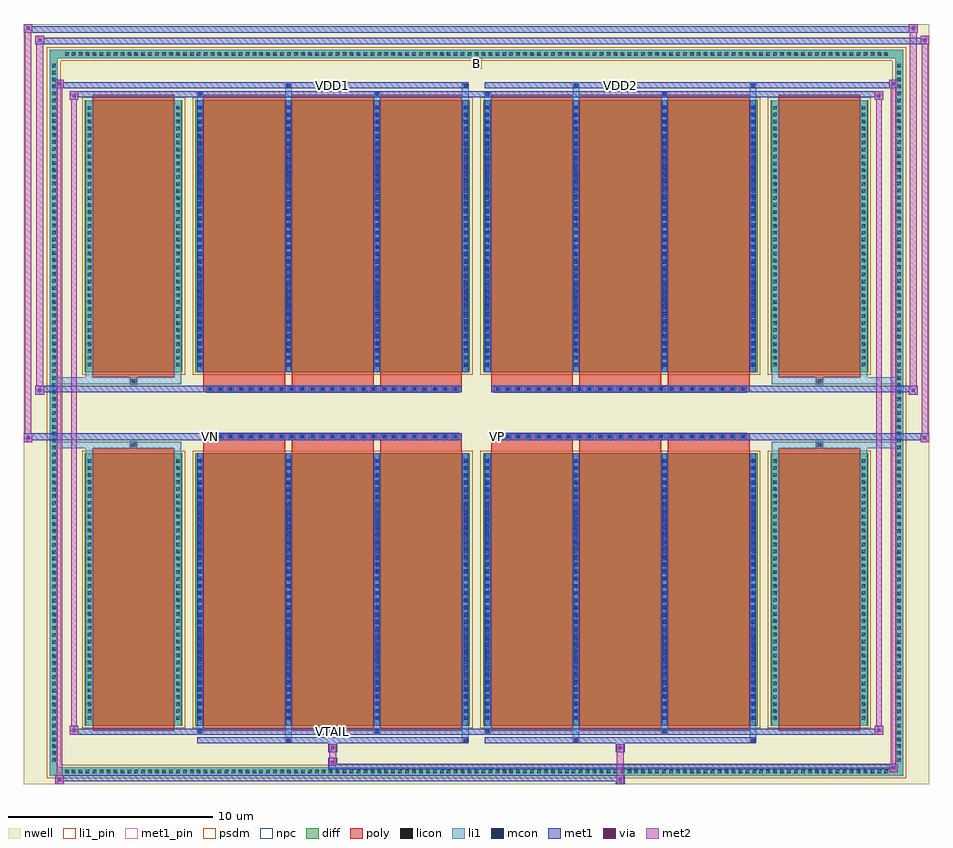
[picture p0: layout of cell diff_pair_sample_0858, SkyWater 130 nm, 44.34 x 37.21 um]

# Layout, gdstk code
import gdstk
lib = gdstk.Library(unit=1e-6, precision=5e-09)
def R(c, l, rs):  # rectangles x0, y0, x1, y1
    for r in rs: c.add(gdstk.rectangle(r[:2], r[2:], *l))
def A(c, l, x, y, w, h, nx, ny, dx, dy):  # array of equal rectangles
    R(c, l, [(x+i*dx, y+j*dy, x+i*dx+w, y+j*dy+h) for i in range(nx) for j in range(ny)])
def P(c, l, *ps):  # polygons
    for p in ps: c.add(gdstk.Polygon(p, *l))
nwell = (64, 20)
diff = (65, 20)
poly = (66, 20)
licon = (66, 44)
li1_pin = (67, 16)
li1 = (67, 20)
mcon = (67, 44)
met1_pin = (68, 16)
met1 = (68, 20)
via = (68, 44)
met2 = (69, 20)
psdm = (94, 20)
npc = (95, 20)

diff_pair_sample_0858 = lib.new_cell('diff_pair_sample_0858')
R(diff_pair_sample_0858, nwell, [(-22.17,-18.17,22.17,19.04), (-19.49,-16.36,-0.01,-0.8), (0.01,-16.36,19.49,-0.8), (-19.49,0.8,-0.01,16.36), (0.01,0.8,19.49,16.36)])
A(diff_pair_sample_0858, diff, -20.265, -17.77, 0.41, 0.41, 119, 2, 0.34, 35.13)
A(diff_pair_sample_0858, diff, -20.9, -17.205, 0.41, 0.41, 1, 101, 0, 0.34)
A(diff_pair_sample_0858, diff, 20.49, -17.205, 0.41, 0.41, 1, 101, 0, 0.34)
R(diff_pair_sample_0858, diff, [(-20.265,-17.77,20.265,-17.36), (-20.9,-17.205,-20.49,17.205), (20.49,-17.205,20.9,17.205), (-19.18,-15.315,-14.4,-1.985), (-13.76,-15.315,-0.32,-1.985), (0.32,-15.315,13.76,-1.985), (14.4,-15.315,19.18,-1.985), (-19.18,1.985,-14.4,15.315), (-13.76,1.985,-0.32,15.315), (0.32,1.985,13.76,15.315), (14.4,1.985,19.18,15.315), (-20.265,17.36,20.265,17.77)])
P(diff_pair_sample_0858, diff, [(20.9,17.77),(-20.9,17.77),(-20.9,-17.36),(-20.49,-17.36),(-20.49,17.36),(20.49,17.36),(20.49,-17.36),(-20.49,-17.36),(-20.9,-17.36),(-20.9,-17.77),(20.9,-17.77)])
A(diff_pair_sample_0858, poly, -13.37, -15.565, 4, 13.83, 3, 2, 4.33, 17.3)
A(diff_pair_sample_0858, poly, 0.71, -15.565, 4, 13.83, 3, 2, 4.33, 17.3)
A(diff_pair_sample_0858, poly, -13.37, -1.735, 4, 0.405, 3, 2, 4.33, 3.065)
A(diff_pair_sample_0858, poly, 0.71, -1.735, 4, 0.405, 3, 2, 4.33, 3.065)
A(diff_pair_sample_0858, poly, -13.205, -1.33, 0.33, 0.33, 25, 2, 0.5, 2.33)
A(diff_pair_sample_0858, poly, 0.875, -1.33, 0.33, 0.33, 25, 2, 0.5, 2.33)
R(diff_pair_sample_0858, poly, [(-18.79,-15.565,-14.79,-1.735), (14.79,-15.565,18.79,-1.735), (-16.955,-1.735,-16.625,-1.405), (-16.955,-1.735,-16.625,-1.405), (16.625,-1.735,16.955,-1.405), (16.625,-1.735,16.955,-1.405), (-13.37,-1.33,-0.71,-1), (0.71,-1.33,13.37,-1), (-13.37,1,-0.71,1.33), (0.71,1,13.37,1.33), (-16.955,1.405,-16.625,1.735), (-16.955,1.405,-16.625,1.735), (16.625,1.405,16.955,1.735), (16.625,1.405,16.955,1.735), (-18.79,1.735,-14.79,15.565), (14.79,1.735,18.79,15.565)])
A(diff_pair_sample_0858, licon, -20.145, -17.65, 0.17, 0.17, 119, 2, 0.34, 35.13)
A(diff_pair_sample_0858, licon, -20.78, -17.085, 0.17, 0.17, 1, 101, 0, 0.34)
A(diff_pair_sample_0858, licon, 20.61, -17.085, 0.17, 0.17, 1, 101, 0, 0.34)
A(diff_pair_sample_0858, licon, -19.04, -15.025, 0.17, 0.17, 1, 38, 0, 0.34)
A(diff_pair_sample_0858, licon, -14.71, -15.025, 0.17, 0.17, 1, 38, 0, 0.34)
A(diff_pair_sample_0858, licon, -13.62, -15.025, 0.17, 0.17, 4, 38, 4.33, 0.34)
A(diff_pair_sample_0858, licon, 0.46, -15.025, 0.17, 0.17, 4, 38, 4.33, 0.34)
A(diff_pair_sample_0858, licon, 14.54, -15.025, 0.17, 0.17, 1, 38, 0, 0.34)
A(diff_pair_sample_0858, licon, 18.87, -15.025, 0.17, 0.17, 1, 38, 0, 0.34)
A(diff_pair_sample_0858, licon, -13.125, -1.25, 0.17, 0.17, 25, 2, 0.5, 2.33)
A(diff_pair_sample_0858, licon, 0.955, -1.25, 0.17, 0.17, 25, 2, 0.5, 2.33)
A(diff_pair_sample_0858, licon, -19.04, 2.275, 0.17, 0.17, 1, 38, 0, 0.34)
A(diff_pair_sample_0858, licon, -14.71, 2.275, 0.17, 0.17, 1, 38, 0, 0.34)
A(diff_pair_sample_0858, licon, -13.62, 2.275, 0.17, 0.17, 4, 38, 4.33, 0.34)
A(diff_pair_sample_0858, licon, 0.46, 2.275, 0.17, 0.17, 4, 38, 4.33, 0.34)
A(diff_pair_sample_0858, licon, 14.54, 2.275, 0.17, 0.17, 1, 38, 0, 0.34)
A(diff_pair_sample_0858, licon, 18.87, 2.275, 0.17, 0.17, 1, 38, 0, 0.34)
R(diff_pair_sample_0858, licon, [(-16.875,-1.655,-16.705,-1.485), (16.705,-1.655,16.875,-1.485), (-16.875,1.485,-16.705,1.655), (16.705,1.485,16.875,1.655)])
R(diff_pair_sample_0858, li1_pin, [(-0.25,16.86,0.25,17.36)])
A(diff_pair_sample_0858, li1, -20.225, -17.73, 0.33, 0.33, 119, 2, 0.34, 35.13)
A(diff_pair_sample_0858, li1, -20.86, -17.165, 0.33, 0.33, 1, 101, 0, 0.34)
A(diff_pair_sample_0858, li1, 20.53, -17.165, 0.33, 0.33, 1, 101, 0, 0.34)
A(diff_pair_sample_0858, li1, -13.7, -15.315, 0.33, 13.33, 4, 2, 4.33, 17.3)
A(diff_pair_sample_0858, li1, 0.38, -15.315, 0.33, 13.33, 4, 2, 4.33, 17.3)
A(diff_pair_sample_0858, li1, -19.12, -15.105, 0.33, 0.33, 1, 38, 0, 0.34)
A(diff_pair_sample_0858, li1, -14.79, -15.105, 0.33, 0.33, 1, 38, 0, 0.34)
A(diff_pair_sample_0858, li1, -13.7, -15.105, 0.33, 0.33, 4, 38, 4.33, 0.34)
A(diff_pair_sample_0858, li1, 0.38, -15.105, 0.33, 0.33, 4, 38, 4.33, 0.34)
A(diff_pair_sample_0858, li1, 14.46, -15.105, 0.33, 0.33, 1, 38, 0, 0.34)
A(diff_pair_sample_0858, li1, 18.79, -15.105, 0.33, 0.33, 1, 38, 0, 0.34)
A(diff_pair_sample_0858, li1, -13.62, -15.035, 0.17, 0.17, 4, 36, 4.33, 0.36)
A(diff_pair_sample_0858, li1, -13.62, -15.035, 0.17, 12.77, 4, 2, 4.33, 17.3)
A(diff_pair_sample_0858, li1, 0.46, -15.035, 0.17, 0.17, 4, 36, 4.33, 0.36)
A(diff_pair_sample_0858, li1, 0.46, -15.035, 0.17, 12.77, 4, 2, 4.33, 17.3)
A(diff_pair_sample_0858, li1, -13.205, -1.33, 0.33, 0.33, 25, 2, 0.5, 2.33)
A(diff_pair_sample_0858, li1, 0.875, -1.33, 0.33, 0.33, 25, 2, 0.5, 2.33)
A(diff_pair_sample_0858, li1, -19.12, 2.195, 0.33, 0.33, 1, 38, 0, 0.34)
A(diff_pair_sample_0858, li1, -14.79, 2.195, 0.33, 0.33, 1, 38, 0, 0.34)
A(diff_pair_sample_0858, li1, -13.7, 2.195, 0.33, 0.33, 4, 38, 4.33, 0.34)
A(diff_pair_sample_0858, li1, 0.38, 2.195, 0.33, 0.33, 4, 38, 4.33, 0.34)
A(diff_pair_sample_0858, li1, 14.46, 2.195, 0.33, 0.33, 1, 38, 0, 0.34)
A(diff_pair_sample_0858, li1, 18.79, 2.195, 0.33, 0.33, 1, 38, 0, 0.34)
A(diff_pair_sample_0858, li1, -13.62, 2.265, 0.17, 0.17, 4, 36, 4.33, 0.36)
A(diff_pair_sample_0858, li1, 0.46, 2.265, 0.17, 0.17, 4, 36, 4.33, 0.36)
R(diff_pair_sample_0858, li1, [(-20.9,-17.77,-20.49,-17.36), (-20.9,-17.77,-20.49,-17.36), (-20.49,-17.77,20.49,-17.36), (20.49,-17.77,20.9,-17.36), (20.49,-17.77,20.9,-17.36), (-20.9,-17.36,-20.49,17.36), (20.49,-17.36,20.9,17.36), (-9.37,-16.12,-9.04,-15.315), (-9.29,-16.12,-9.12,-15.95), (-0.71,-16.12,-0.38,-15.315), (-0.63,-16.12,-0.46,-15.95), (4.71,-16.12,5.04,-15.315), (4.79,-16.12,4.96,-15.95), (13.37,-16.12,13.7,-15.315), (13.45,-16.12,13.62,-15.95), (-13.7,-15.69,-13.37,-15.315), (-13.62,-15.69,-13.45,-15.52), (-5.04,-15.69,-4.71,-15.315), (-4.96,-15.69,-4.79,-15.52), (0.38,-15.69,0.71,-15.315), (0.46,-15.69,0.63,-15.52), (9.04,-15.69,9.37,-15.315), (9.12,-15.69,9.29,-15.52), (-19.12,-15.315,-18.79,-1.985), (-14.79,-15.315,-14.46,-1.985), (14.46,-15.315,14.79,-1.985), (18.79,-15.315,19.12,-1.985), (-19.12,-1.985,-18.79,-1.405), (-14.79,-1.985,-14.46,-1.405), (14.46,-1.985,14.79,-1.405), (18.79,-1.985,19.12,-1.405), (-20.9,-1.735,-16.955,-1.405), (-19.12,-1.735,-16.955,-1.405), (-16.955,-1.735,-16.625,-1.405), (-16.625,-1.735,-14.46,-1.405), (14.46,-1.735,16.625,-1.405), (16.625,-1.735,16.955,-1.405), (16.625,-1.735,20.9,-1.405), (16.955,-1.735,19.12,-1.405), (-20.9,1.405,-16.955,1.735), (-19.12,1.405,-16.955,1.735), (-19.12,1.405,-18.79,1.985), (-16.955,1.405,-16.625,1.735), (-16.625,1.405,-14.46,1.735), (-14.79,1.405,-14.46,1.985), (14.46,1.405,16.625,1.735), (14.46,1.405,14.79,1.985), (16.625,1.405,16.955,1.735), (16.625,1.405,20.9,1.735), (16.955,1.405,19.12,1.735), (18.79,1.405,19.12,1.985), (-19.12,1.985,-18.79,15.315), (-14.79,1.985,-14.46,15.315), (14.46,1.985,14.79,15.315), (18.79,1.985,19.12,15.315), (-13.7,15.315,-13.37,15.69), (-9.37,15.315,-9.04,16.12), (-5.04,15.315,-4.71,15.69), (-0.71,15.315,-0.38,16.12), (0.38,15.315,0.71,15.69), (4.71,15.315,5.04,16.12), (9.04,15.315,9.37,15.69), (13.37,15.315,13.7,16.12), (-13.62,15.52,-13.45,15.69), (-4.96,15.52,-4.79,15.69), (0.46,15.52,0.63,15.69), (9.12,15.52,9.29,15.69), (-9.29,15.95,-9.12,16.12), (-0.63,15.95,-0.46,16.12), (4.79,15.95,4.96,16.12), (13.45,15.95,13.62,16.12), (-20.9,17.36,-20.49,17.77), (-20.9,17.36,-20.49,17.77), (-20.49,17.36,20.49,17.77), (20.49,17.36,20.9,17.77), (20.49,17.36,20.9,17.77)])
A(diff_pair_sample_0858, mcon, -13.62, -15.035, 0.17, 0.17, 4, 36, 4.33, 0.36)
A(diff_pair_sample_0858, mcon, 0.46, -15.035, 0.17, 0.17, 4, 36, 4.33, 0.36)
A(diff_pair_sample_0858, mcon, -13.125, -1.25, 0.17, 0.17, 25, 2, 0.5, 2.33)
A(diff_pair_sample_0858, mcon, 0.955, -1.25, 0.17, 0.17, 25, 2, 0.5, 2.33)
A(diff_pair_sample_0858, mcon, -13.62, 2.265, 0.17, 0.17, 4, 36, 4.33, 0.36)
A(diff_pair_sample_0858, mcon, 0.46, 2.265, 0.17, 0.17, 4, 36, 4.33, 0.36)
R(diff_pair_sample_0858, mcon, [(-9.29,-16.12,-9.12,-15.95), (-0.63,-16.12,-0.46,-15.95), (4.79,-16.12,4.96,-15.95), (13.45,-16.12,13.62,-15.95), (-13.62,-15.69,-13.45,-15.52), (-4.96,-15.69,-4.79,-15.52), (0.46,-15.69,0.63,-15.52), (9.12,-15.69,9.29,-15.52), (-13.62,15.52,-13.45,15.69), (-4.96,15.52,-4.79,15.69), (0.46,15.52,0.63,15.69), (9.12,15.52,9.29,15.69), (-9.29,15.95,-9.12,16.12), (-0.63,15.95,-0.46,16.12), (4.79,15.95,4.96,16.12), (13.45,15.95,13.62,16.12)])
R(diff_pair_sample_0858, met1_pin, [(-7.175,-15.73,-6.905,-15.46), (-13.175,-1.29,-12.905,-1.02), (0.905,-1.29,1.175,-1.02), (-7.175,15.91,-6.905,16.18), (6.905,15.91,7.175,16.18)])
A(diff_pair_sample_0858, met1, -13.68, -15.315, 0.29, 13.33, 4, 2, 4.33, 17.3)
A(diff_pair_sample_0858, met1, 0.4, -15.315, 0.29, 13.33, 4, 2, 4.33, 17.3)
A(diff_pair_sample_0858, met1, -13.68, -15.095, 0.29, 0.29, 4, 36, 4.33, 0.36)
A(diff_pair_sample_0858, met1, 0.4, -15.095, 0.29, 0.29, 4, 36, 4.33, 0.36)
A(diff_pair_sample_0858, met1, -13.185, -1.31, 0.29, 0.29, 25, 2, 0.5, 2.33)
A(diff_pair_sample_0858, met1, 0.895, -1.31, 0.29, 0.29, 25, 2, 0.5, 2.33)
A(diff_pair_sample_0858, met1, -13.68, 2.205, 0.29, 0.29, 4, 36, 4.33, 0.36)
A(diff_pair_sample_0858, met1, 0.4, 2.205, 0.29, 0.29, 4, 36, 4.33, 0.36)
R(diff_pair_sample_0858, met1, [(-20.63,-18.17,-20.2,-17.74), (6.825,-18.17,7.255,-17.74), (-20.63,-18.03,7.255,-17.74), (20.2,-17.6,20.63,-17.17), (-7.255,-17.46,20.63,-17.17), (-7.255,-17.32,-6.825,-16.89), (-7.255,-16.61,-6.825,-16.18), (6.825,-16.61,7.255,-16.18), (-13.68,-16.18,-0.4,-15.89), (-9.35,-16.18,-9.06,-15.89), (-0.69,-16.18,-0.4,-15.89), (0.4,-16.18,13.68,-15.89), (4.73,-16.18,5.02,-15.89), (13.39,-16.18,13.68,-15.89), (-19.92,-15.75,-19.49,-15.32), (-19.92,-15.75,-13.68,-15.46), (-13.68,-15.75,-13.39,-15.46), (-13.68,-15.75,-0.4,-15.46), (-5.02,-15.75,-4.73,-15.46), (-0.4,-15.75,0.4,-15.46), (0.4,-15.75,0.69,-15.46), (0.4,-15.75,13.68,-15.46), (9.06,-15.75,9.35,-15.46), (13.68,-15.75,19.92,-15.46), (19.49,-15.75,19.92,-15.32), (-22.17,-1.43,-21.74,-1), (21.74,-1.43,22.17,-1), (-22.17,-1.33,-0.71,-1), (-13.37,-1.33,-0.71,-1), (0.71,-1.33,13.37,-1), (0.71,-1.33,22.17,-1), (-21.6,0.9,-21.17,1.33), (21.17,0.9,21.6,1.33), (-21.6,1,-13.37,1.33), (-13.37,1,-0.71,1.33), (0.71,1,13.37,1.33), (13.37,1,21.6,1.33), (-19.92,15.32,-19.49,15.75), (19.49,15.32,19.92,15.75), (-19.92,15.46,-13.68,15.75), (-13.68,15.46,-13.39,15.75), (-13.68,15.46,-0.4,15.75), (-5.02,15.46,-4.73,15.75), (-0.4,15.46,0.4,15.75), (0.4,15.46,0.69,15.75), (0.4,15.46,13.68,15.75), (9.06,15.46,9.35,15.75), (13.68,15.46,19.92,15.75), (-20.63,15.89,-20.2,16.32), (-20.63,15.89,-13.68,16.18), (-13.68,15.89,-0.4,16.18), (-9.35,15.89,-9.06,16.18), (-0.69,15.89,-0.4,16.18), (0.4,15.89,13.68,16.18), (4.73,15.89,5.02,16.18), (13.39,15.89,13.68,16.18), (13.68,15.89,20.63,16.18), (20.2,15.89,20.63,16.32), (-21.6,18.04,-21.17,18.47), (-21.6,18.04,-19.49,18.37), (-19.49,18.04,19.49,18.37), (19.49,18.04,22.17,18.37), (21.74,18.04,22.17,18.47), (-22.17,18.61,-21.74,19.04), (-22.17,18.61,-19.49,18.94), (-19.49,18.61,19.49,18.94), (19.49,18.61,21.6,18.94), (21.17,18.61,21.6,19.04)])
R(diff_pair_sample_0858, via, [(-20.49,-18.03,-20.34,-17.88), (6.965,-18.03,7.115,-17.88), (20.34,-17.46,20.49,-17.31), (-7.115,-17.18,-6.965,-17.03), (-7.115,-16.47,-6.965,-16.32), (6.965,-16.47,7.115,-16.32), (-19.78,-15.61,-19.63,-15.46), (19.63,-15.61,19.78,-15.46), (-22.03,-1.29,-21.88,-1.14), (21.88,-1.29,22.03,-1.14), (-21.46,1.04,-21.31,1.19), (21.31,1.04,21.46,1.19), (-19.78,15.46,-19.63,15.61), (19.63,15.46,19.78,15.61), (-20.49,16.03,-20.34,16.18), (20.34,16.03,20.49,16.18), (-21.46,18.18,-21.31,18.33), (21.88,18.18,22.03,18.33), (-22.03,18.75,-21.88,18.9), (21.31,18.75,21.46,18.9)])
R(diff_pair_sample_0858, met2, [(-20.63,-18.17,-20.2,-17.74), (-20.56,-18.17,-20.27,16.32), (-20.27,-18.17,-20.2,-17.74), (-20.58,-18.12,-20.25,-17.79), (6.875,-18.12,7.205,-17.79), (6.875,-17.79,7.205,-16.56), (20.2,-17.6,20.63,-17.17), (20.27,-17.6,20.56,16.32), (20.56,-17.6,20.63,-17.17), (20.25,-17.55,20.58,-17.22), (-7.205,-17.27,-6.875,-16.94), (-7.205,-16.94,-6.875,-16.56), (-7.205,-16.56,-6.875,-16.23), (6.875,-16.56,7.205,-16.23), (-19.92,-15.75,-19.49,-15.32), (-19.85,-15.75,-19.56,15.75), (-19.56,-15.75,-19.49,-15.32), (19.49,-15.75,19.92,-15.32), (19.56,-15.75,19.85,15.75), (19.85,-15.75,19.92,-15.32), (-19.87,-15.7,-19.54,-15.37), (19.54,-15.7,19.87,-15.37), (-22.17,-1.43,-21.74,-1), (-22.12,-1.43,-21.79,19.04), (-21.79,-1.43,-21.74,-1), (21.74,-1.43,22.17,-1), (21.79,-1.43,22.12,18.47), (22.12,-1.43,22.17,-1), (-22.12,-1.38,-21.79,-1.05), (21.79,-1.38,22.12,-1.05), (-21.6,0.9,-21.17,1.33), (-21.55,0.9,-21.22,18.47), (-21.22,0.9,-21.17,1.33), (21.17,0.9,21.6,1.33), (21.22,0.9,21.55,19.04), (21.55,0.9,21.6,1.33), (-21.55,0.95,-21.22,1.28), (21.22,0.95,21.55,1.28), (-19.92,15.32,-19.49,15.75), (-19.56,15.32,-19.49,15.75), (19.49,15.32,19.92,15.75), (19.85,15.32,19.92,15.75), (-19.87,15.37,-19.54,15.7), (19.54,15.37,19.87,15.7), (-20.63,15.89,-20.2,16.32), (-20.27,15.89,-20.2,16.32), (20.2,15.89,20.63,16.32), (20.56,15.89,20.63,16.32), (-20.58,15.94,-20.25,16.27), (20.25,15.94,20.58,16.27), (-21.6,18.04,-21.17,18.47), (-21.22,18.04,-21.17,18.47), (21.74,18.04,22.17,18.47), (22.12,18.04,22.17,18.47), (-21.55,18.09,-21.22,18.42), (21.79,18.09,22.12,18.42), (-22.17,18.61,-21.74,19.04), (-21.79,18.61,-21.74,19.04), (21.17,18.61,21.6,19.04), (21.55,18.61,21.6,19.04), (-22.12,18.66,-21.79,18.99), (21.22,18.66,21.55,18.99)])
R(diff_pair_sample_0858, psdm, [(-19.31,-15.445,-14.27,-1.855), (-13.89,-15.445,-0.19,-1.855), (0.19,-15.445,13.89,-1.855), (14.27,-15.445,19.31,-1.855), (-19.31,1.855,-14.27,15.445), (-13.89,1.855,-0.19,15.445), (0.19,1.855,13.89,15.445), (14.27,1.855,19.31,15.445)])
P(diff_pair_sample_0858, psdm, [(21.03,17.9),(-21.03,17.9),(-21.03,-17.23),(-20.36,-17.23),(-20.36,17.23),(20.36,17.23),(20.36,-17.23),(-20.36,-17.23),(-21.03,-17.23),(-21.03,-17.9),(21.03,-17.9)])
A(diff_pair_sample_0858, npc, -13.225, -1.35, 0.37, 0.37, 25, 2, 0.5, 2.33)
A(diff_pair_sample_0858, npc, 0.855, -1.35, 0.37, 0.37, 25, 2, 0.5, 2.33)
R(diff_pair_sample_0858, npc, [(-16.975,-1.755,-16.605,-1.385), (16.605,-1.755,16.975,-1.385), (-13.225,-1.35,-12.355,-0.98), (-13.225,-1.35,-12.355,-0.98), (-12.725,-1.35,-11.855,-0.98), (-12.725,-1.35,-11.855,-0.98), (-12.225,-1.35,-11.355,-0.98), (-12.225,-1.35,-11.355,-0.98), (-11.725,-1.35,-10.855,-0.98), (-11.725,-1.35,-10.855,-0.98), (-11.225,-1.35,-10.355,-0.98), (-11.225,-1.35,-10.355,-0.98), (-10.725,-1.35,-9.855,-0.98), (-10.725,-1.35,-9.855,-0.98), (-10.225,-1.35,-9.355,-0.98), (-10.225,-1.35,-9.355,-0.98), (-9.725,-1.35,-8.855,-0.98), (-9.725,-1.35,-8.855,-0.98), (-9.225,-1.35,-8.355,-0.98), (-9.225,-1.35,-8.355,-0.98), (-8.725,-1.35,-7.855,-0.98), (-8.725,-1.35,-7.855,-0.98), (-8.225,-1.35,-7.355,-0.98), (-8.225,-1.35,-7.355,-0.98), (-7.725,-1.35,-6.855,-0.98), (-7.725,-1.35,-6.855,-0.98), (-7.225,-1.35,-6.355,-0.98), (-7.225,-1.35,-6.355,-0.98), (-6.725,-1.35,-5.855,-0.98), (-6.725,-1.35,-5.855,-0.98), (-6.225,-1.35,-5.355,-0.98), (-6.225,-1.35,-5.355,-0.98), (-5.725,-1.35,-4.855,-0.98), (-5.725,-1.35,-4.855,-0.98), (-5.225,-1.35,-4.355,-0.98), (-5.225,-1.35,-4.355,-0.98), (-4.725,-1.35,-3.855,-0.98), (-4.725,-1.35,-3.855,-0.98), (-4.225,-1.35,-3.355,-0.98), (-4.225,-1.35,-3.355,-0.98), (-3.725,-1.35,-2.855,-0.98), (-3.725,-1.35,-2.855,-0.98), (-3.225,-1.35,-2.355,-0.98), (-3.225,-1.35,-2.355,-0.98), (-2.725,-1.35,-1.855,-0.98), (-2.725,-1.35,-1.855,-0.98), (-2.225,-1.35,-1.355,-0.98), (-2.225,-1.35,-1.355,-0.98), (-1.725,-1.35,-0.855,-0.98), (-1.725,-1.35,-0.855,-0.98), (0.855,-1.35,1.725,-0.98), (0.855,-1.35,1.725,-0.98), (1.355,-1.35,2.225,-0.98), (1.355,-1.35,2.225,-0.98), (1.855,-1.35,2.725,-0.98), (1.855,-1.35,2.725,-0.98), (2.355,-1.35,3.225,-0.98), (2.355,-1.35,3.225,-0.98), (2.855,-1.35,3.725,-0.98), (2.855,-1.35,3.725,-0.98), (3.355,-1.35,4.225,-0.98), (3.355,-1.35,4.225,-0.98), (3.855,-1.35,4.725,-0.98), (3.855,-1.35,4.725,-0.98), (4.355,-1.35,5.225,-0.98), (4.355,-1.35,5.225,-0.98), (4.855,-1.35,5.725,-0.98), (4.855,-1.35,5.725,-0.98), (5.355,-1.35,6.225,-0.98), (5.355,-1.35,6.225,-0.98), (5.855,-1.35,6.725,-0.98), (5.855,-1.35,6.725,-0.98), (6.355,-1.35,7.225,-0.98), (6.355,-1.35,7.225,-0.98), (6.855,-1.35,7.725,-0.98), (6.855,-1.35,7.725,-0.98), (7.355,-1.35,8.225,-0.98), (7.355,-1.35,8.225,-0.98), (7.855,-1.35,8.725,-0.98), (7.855,-1.35,8.725,-0.98), (8.355,-1.35,9.225,-0.98), (8.355,-1.35,9.225,-0.98), (8.855,-1.35,9.725,-0.98), (8.855,-1.35,9.725,-0.98), (9.355,-1.35,10.225,-0.98), (9.355,-1.35,10.225,-0.98), (9.855,-1.35,10.725,-0.98), (9.855,-1.35,10.725,-0.98), (10.355,-1.35,11.225,-0.98), (10.355,-1.35,11.225,-0.98), (10.855,-1.35,11.725,-0.98), (10.855,-1.35,11.725,-0.98), (11.355,-1.35,12.225,-0.98), (11.355,-1.35,12.225,-0.98), (11.855,-1.35,12.725,-0.98), (11.855,-1.35,12.725,-0.98), (12.355,-1.35,13.225,-0.98), (12.355,-1.35,13.225,-0.98), (-13.225,0.98,-12.355,1.35), (-13.225,0.98,-12.355,1.35), (-12.725,0.98,-11.855,1.35), (-12.725,0.98,-11.855,1.35), (-12.225,0.98,-11.355,1.35), (-12.225,0.98,-11.355,1.35), (-11.725,0.98,-10.855,1.35), (-11.725,0.98,-10.855,1.35), (-11.225,0.98,-10.355,1.35), (-11.225,0.98,-10.355,1.35), (-10.725,0.98,-9.855,1.35), (-10.725,0.98,-9.855,1.35), (-10.225,0.98,-9.355,1.35), (-10.225,0.98,-9.355,1.35), (-9.725,0.98,-8.855,1.35), (-9.725,0.98,-8.855,1.35), (-9.225,0.98,-8.355,1.35), (-9.225,0.98,-8.355,1.35), (-8.725,0.98,-7.855,1.35), (-8.725,0.98,-7.855,1.35), (-8.225,0.98,-7.355,1.35), (-8.225,0.98,-7.355,1.35), (-7.725,0.98,-6.855,1.35), (-7.725,0.98,-6.855,1.35), (-7.225,0.98,-6.355,1.35), (-7.225,0.98,-6.355,1.35), (-6.725,0.98,-5.855,1.35), (-6.725,0.98,-5.855,1.35), (-6.225,0.98,-5.355,1.35), (-6.225,0.98,-5.355,1.35), (-5.725,0.98,-4.855,1.35), (-5.725,0.98,-4.855,1.35), (-5.225,0.98,-4.355,1.35), (-5.225,0.98,-4.355,1.35), (-4.725,0.98,-3.855,1.35), (-4.725,0.98,-3.855,1.35), (-4.225,0.98,-3.355,1.35), (-4.225,0.98,-3.355,1.35), (-3.725,0.98,-2.855,1.35), (-3.725,0.98,-2.855,1.35), (-3.225,0.98,-2.355,1.35), (-3.225,0.98,-2.355,1.35), (-2.725,0.98,-1.855,1.35), (-2.725,0.98,-1.855,1.35), (-2.225,0.98,-1.355,1.35), (-2.225,0.98,-1.355,1.35), (-1.725,0.98,-0.855,1.35), (-1.725,0.98,-0.855,1.35), (0.855,0.98,1.725,1.35), (0.855,0.98,1.725,1.35), (1.355,0.98,2.225,1.35), (1.355,0.98,2.225,1.35), (1.855,0.98,2.725,1.35), (1.855,0.98,2.725,1.35), (2.355,0.98,3.225,1.35), (2.355,0.98,3.225,1.35), (2.855,0.98,3.725,1.35), (2.855,0.98,3.725,1.35), (3.355,0.98,4.225,1.35), (3.355,0.98,4.225,1.35), (3.855,0.98,4.725,1.35), (3.855,0.98,4.725,1.35), (4.355,0.98,5.225,1.35), (4.355,0.98,5.225,1.35), (4.855,0.98,5.725,1.35), (4.855,0.98,5.725,1.35), (5.355,0.98,6.225,1.35), (5.355,0.98,6.225,1.35), (5.855,0.98,6.725,1.35), (5.855,0.98,6.725,1.35), (6.355,0.98,7.225,1.35), (6.355,0.98,7.225,1.35), (6.855,0.98,7.725,1.35), (6.855,0.98,7.725,1.35), (7.355,0.98,8.225,1.35), (7.355,0.98,8.225,1.35), (7.855,0.98,8.725,1.35), (7.855,0.98,8.725,1.35), (8.355,0.98,9.225,1.35), (8.355,0.98,9.225,1.35), (8.855,0.98,9.725,1.35), (8.855,0.98,9.725,1.35), (9.355,0.98,10.225,1.35), (9.355,0.98,10.225,1.35), (9.855,0.98,10.725,1.35), (9.855,0.98,10.725,1.35), (10.355,0.98,11.225,1.35), (10.355,0.98,11.225,1.35), (10.855,0.98,11.725,1.35), (10.855,0.98,11.725,1.35), (11.355,0.98,12.225,1.35), (11.355,0.98,12.225,1.35), (11.855,0.98,12.725,1.35), (11.855,0.98,12.725,1.35), (12.355,0.98,13.225,1.35), (12.355,0.98,13.225,1.35), (-16.975,1.385,-16.605,1.755), (16.605,1.385,16.975,1.755)])
diff_pair_sample_0858.add(gdstk.Label('VTAIL', (-7.04,-15.595), layer=68, texttype=5))
diff_pair_sample_0858.add(gdstk.Label('VN', (-13.04,-1.155), layer=68, texttype=5))
diff_pair_sample_0858.add(gdstk.Label('VP', (1.04,-1.155), layer=68, texttype=5))
diff_pair_sample_0858.add(gdstk.Label('B', (0,17.11), layer=67, texttype=5))
diff_pair_sample_0858.add(gdstk.Label('VDD2', (7.04,16.045), layer=68, texttype=5))
diff_pair_sample_0858.add(gdstk.Label('VDD1', (-7.04,16.045), layer=68, texttype=5))

lib.write_gds('diff_pair_sample_0858.gds')
